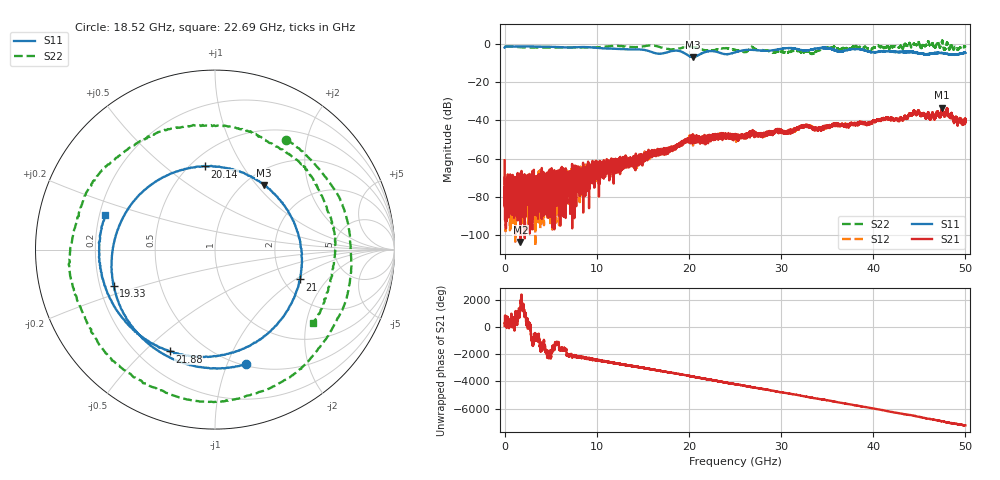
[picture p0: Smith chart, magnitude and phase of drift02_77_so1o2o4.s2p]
!Created with skrf (http://scikit-rf.org).
# Hz S RI R 50.0
!freq ReS11 ImS11 ReS21 ImS21 ReS12 ImS12 ReS22 ImS22
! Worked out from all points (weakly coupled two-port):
!   10001 points, 300 kHz to 50 GHz, reference 50 ohm
!   highest |S21| = -33.47 dB at 47.48 GHz (marker M1); lowest = -103.5 dB at 1.71 GHz (marker M2)
!   lowest |S11| = -6.9 dB at 20.45 GHz (marker M3), VSWR 2.64, Z = 60.1 + j54.5 ohm
!   |S11| at or under -10 dB: nowhere
!   |S22| runs from -5.4 to 1.7 dB; largest |S21 - S12| = 0.0033
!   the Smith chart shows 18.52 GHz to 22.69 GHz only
!   S11 on the Smith chart (normalised r, x): 18.52 GHz: 0.51, -1.17; 19.33 GHz: 0.26, -0.16; 20.14 GHz: 0.59, +0.70; 21 GHz: 2.45, -1.09; 21.88 GHz: 0.32, -0.60; 22.69 GHz: 0.22, +0.15
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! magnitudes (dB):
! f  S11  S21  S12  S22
! 300 kHz  -2.0  -60.9  -69.4  -1.3
! 255.3 MHz  -1.4  -73.5  -81.9  -1.4
! 1.71 GHz  -1.4  -103.5  -91.7  -1.8
! 4.395 GHz  -1.6  -82.4  -82.8  -2.0
! 8.335 GHz  -1.7  -69.8  -69.9  -1.9
! 16.67 GHz  -5.2  -56.6  -56.8  -1.4
! 18.52 GHz  -3.6  -53.5  -53.5  -2.7
! 19.33 GHz  -4.4  -51.6  -51.6  -2.1
! 20.14 GHz  -6.6  -51.3  -50.2  -1.5
! 20.45 GHz  -6.9  -48.2  -50.3  -1.8
! 21 GHz  -6.0  -49.6  -49.1  -2.3
! 21.88 GHz  -4.1  -50.6  -49.3  -3.4
! 22.69 GHz  -3.9  -48.5  -48.1  -3.3
! 25 GHz  -4.5  -48.4  -48.8  -3.2
! 26.11 GHz  -3.3  -47.6  -49.3  -4.3
! 26.9 GHz  -3.2  -46.3  -46.6  -1.7
! 33.34 GHz  -3.0  -44.2  -43.5  -5.1
! 34.89 GHz  -2.2  -43.2  -43.6  -2.3
! 41.67 GHz  -4.0  -39.3  -39.0  -2.1
! 44.64 GHz  -4.7  -36.9  -36.9  -0.6
! 47.48 GHz  -4.9  -33.5  -33.7  1.4
! 50 GHz  -4.7  -40.2  -39.5  -1.5
